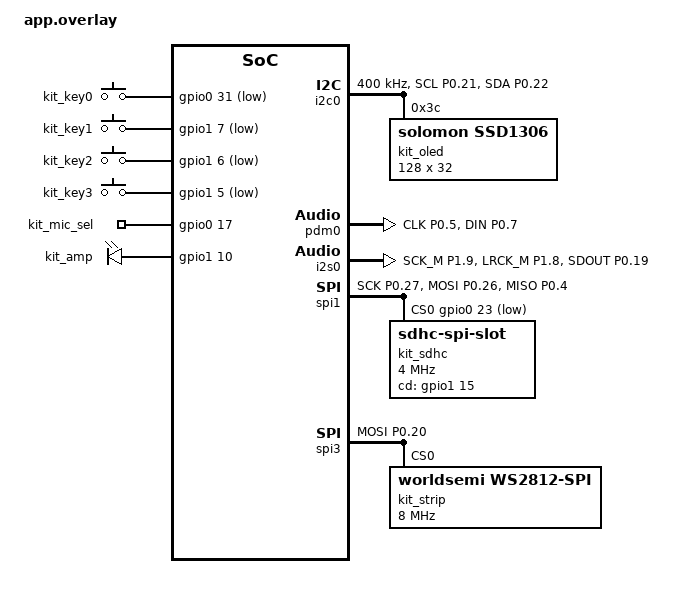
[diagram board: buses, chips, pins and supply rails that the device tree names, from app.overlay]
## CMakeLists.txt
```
# SPDX-License-Identifier: Apache-2.0
cmake_minimum_required(VERSION 3.20.0)
find_package(Zephyr REQUIRED HINTS $ENV{ZEPHYR_BASE})
project(nu40_ble_display)
target_include_directories(app PRIVATE ../shared)
target_sources(app PRIVATE src/main.c src/font_0608.c src/kit_io.c src/kit_mgmt.c)
```

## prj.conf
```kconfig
CONFIG_SERIAL=y
CONFIG_CONSOLE=y
CONFIG_UART_CONSOLE=y
CONFIG_UART_LINE_CTRL=y
CONFIG_USB_DEVICE_STACK_NEXT=y
CONFIG_CDC_ACM_SERIAL_INITIALIZE_AT_BOOT=y
CONFIG_CDC_ACM_SERIAL_PID=0x0004
CONFIG_CDC_ACM_SERIAL_PRODUCT_STRING="NU40DK BLE display v2"
CONFIG_REBOOT=y
CONFIG_GPIO=y
CONFIG_I2C=y
CONFIG_AUDIO=y
CONFIG_AUDIO_DMIC=y
CONFIG_I2S=y
CONFIG_SPI=y
CONFIG_LED_STRIP=y
CONFIG_WS2812_STRIP_SPI=y
CONFIG_DISK_ACCESS=y
CONFIG_SD_DATA_TIMEOUT=1000
CONFIG_SD_DATA_RETRIES=0
CONFIG_FILE_SYSTEM=y
CONFIG_FAT_FILESYSTEM_ELM=y
CONFIG_FS_FATFS_MOUNT_MKFS=n
CONFIG_FS_FATFS_MKFS=n
CONFIG_DISPLAY=y
CONFIG_CHARACTER_FRAMEBUFFER=y
CONFIG_CHARACTER_FRAMEBUFFER_USE_DEFAULT_FONTS=n
CONFIG_BT=y
CONFIG_BT_PERIPHERAL=y
CONFIG_BT_DEVICE_NAME="NU40-KIT-DISPLAY"
CONFIG_BT_MAX_CONN=1
CONFIG_BT_MAX_PAIRED=0
CONFIG_BT_SMP=n
CONFIG_BT_SETTINGS=n
CONFIG_MAIN_STACK_SIZE=4096
CONFIG_SYSTEM_WORKQUEUE_STACK_SIZE=2048
CONFIG_HEAP_MEM_POOL_SIZE=4096
CONFIG_LOG=y
CONFIG_LOG_DEFAULT_LEVEL=2
```

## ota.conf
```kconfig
CONFIG_BOOTLOADER_MCUBOOT=y
CONFIG_FLASH=y
CONFIG_FLASH_MAP=y
CONFIG_STREAM_FLASH=y
CONFIG_IMG_MANAGER=y
CONFIG_MCUMGR=y
CONFIG_NET_BUF=y
CONFIG_ZCBOR=y
CONFIG_CRC=y
CONFIG_MCUBOOT_BOOTLOADER_MODE_SWAP_SCRATCH=y
CONFIG_MCUMGR_GRP_IMG=y
CONFIG_MCUMGR_GRP_OS=y
CONFIG_MCUMGR_TRANSPORT_BT=y
CONFIG_MCUMGR_TRANSPORT_BT_REASSEMBLY=y
CONFIG_MCUMGR_TRANSPORT_NETBUF_SIZE=512
CONFIG_MCUMGR_TRANSPORT_WORKQUEUE_STACK_SIZE=4096
CONFIG_SYSTEM_WORKQUEUE_STACK_SIZE=3072
CONFIG_HEAP_MEM_POOL_SIZE=8192
CONFIG_CDC_ACM_SERIAL_PRODUCT_STRING="NU40DK BLE display OTA v3"
```

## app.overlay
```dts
/* SPDX-License-Identifier: Apache-2.0 */
#include <zephyr/dt-bindings/led/led.h>

/ {
	chosen {
		zephyr,display = &kit_oled;
	};
	kit_keys {
		compatible = "gpio-keys";
		kit_key0: key_0 { gpios = <&gpio0 31 (GPIO_PULL_UP | GPIO_ACTIVE_LOW)>; };
		kit_key1: key_1 { gpios = <&gpio1 7 (GPIO_PULL_UP | GPIO_ACTIVE_LOW)>; };
		kit_key2: key_2 { gpios = <&gpio1 6 (GPIO_PULL_UP | GPIO_ACTIVE_LOW)>; };
		kit_key3: key_3 { gpios = <&gpio1 5 (GPIO_PULL_UP | GPIO_ACTIVE_LOW)>; };
	};
	kit_controls {
		compatible = "gpio-leds";
		kit_mic_sel: mic_sel { gpios = <&gpio0 17 GPIO_ACTIVE_HIGH>; };
		kit_amp: amp { gpios = <&gpio1 10 GPIO_ACTIVE_HIGH>; };
	};
};

/* UART0 RTS/CTS overlap the microphone; SPI1 is remapped below for the SD card. */
&uart0 { status = "disabled"; };
&uart1 { status = "disabled"; };
&i2c1 { status = "disabled"; };

&pinctrl {
	kit_i2c: kit_i2c {
		group1 {
			psels = <NRF_PSEL(TWIM_SCL, 0, 21)>, <NRF_PSEL(TWIM_SDA, 0, 22)>;
		};
	};
	kit_pdm: kit_pdm {
		group1 {
			psels = <NRF_PSEL(PDM_CLK, 0, 5)>, <NRF_PSEL(PDM_DIN, 0, 7)>;
		};
	};
	kit_i2s: kit_i2s {
		group1 {
			psels = <NRF_PSEL(I2S_SCK_M, 1, 9)>,
				<NRF_PSEL(I2S_LRCK_M, 1, 8)>, <NRF_PSEL(I2S_SDOUT, 0, 19)>;
		};
	};
	kit_rgb: kit_rgb {
		group1 { psels = <NRF_PSEL(SPIM_MOSI, 0, 20)>; };
	};
	kit_sd: kit_sd {
		group1 {
			psels = <NRF_PSEL(SPIM_SCK, 0, 27)>,
				<NRF_PSEL(SPIM_MOSI, 0, 26)>, <NRF_PSEL(SPIM_MISO, 0, 4)>;
		};
	};
};

&i2c0 {
	status = "okay";
	clock-frequency = <I2C_BITRATE_FAST>;
	pinctrl-0 = <&kit_i2c>;
	/delete-property/ pinctrl-1;
	pinctrl-names = "default";
	kit_oled: ssd1306@3c {
		compatible = "solomon,ssd1306";
		reg = <0x3c>;
		width = <128>;
		height = <32>;
		segment-offset = <0>;
		page-offset = <0>;
		display-offset = <0>;
		multiplex-ratio = <31>;
		segment-remap;
		com-invdir;
		com-sequential;
		prechargep = <0x22>;
	};
};

&pdm0 {
	status = "okay";
	pinctrl-0 = <&kit_pdm>;
	pinctrl-names = "default";
	clock-source = "PCLK32M_HFXO";
	queue-size = <8>;
};

&i2s0 {
	status = "okay";
	pinctrl-0 = <&kit_i2s>;
	pinctrl-names = "default";
};

&spi1 {
	status = "okay";
	pinctrl-0 = <&kit_sd>;
	/delete-property/ pinctrl-1;
	pinctrl-names = "default";
	cs-gpios = <&gpio0 23 GPIO_ACTIVE_LOW>;
	kit_sdhc: sdhc@0 {
		compatible = "zephyr,sdhc-spi-slot";
		reg = <0>;
		spi-max-frequency = <4000000>;
		/* The designer's KIT example reports HIGH as card present, with no pull. */
		cd-gpios = <&gpio1 15 GPIO_ACTIVE_HIGH>;
		mmc {
			compatible = "zephyr,sdmmc-disk";
			disk-name = "KITSD";
		};
	};
};

&spi3 {
	status = "okay";
	pinctrl-0 = <&kit_rgb>;
	/delete-property/ pinctrl-1;
	/delete-property/ cs-gpios;
	pinctrl-names = "default";
	kit_strip: ws2812@0 {
		compatible = "worldsemi,ws2812-spi";
		reg = <0>;
		spi-max-frequency = <8000000>;
		chain-length = <4>;
		color-mapping = <LED_COLOR_ID_GREEN LED_COLOR_ID_RED LED_COLOR_ID_BLUE>;
		spi-one-frame = <0xfc>;
		spi-zero-frame = <0xc0>;
	};
};
```

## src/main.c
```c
/* SPDX-License-Identifier: Apache-2.0 */
#include <errno.h>
#include <string.h>
#include <hal/nrf_power.h>
#include <zephyr/bluetooth/bluetooth.h>
#include <zephyr/bluetooth/conn.h>
#include <zephyr/bluetooth/gatt.h>
#include <zephyr/bluetooth/uuid.h>
#include <zephyr/device.h>
#include <zephyr/display/cfb.h>
#include <zephyr/drivers/gpio.h>
#include <zephyr/drivers/uart.h>
#include <zephyr/kernel.h>
#include <zephyr/sys/atomic.h>
#include <zephyr/sys/printk.h>
#include <zephyr/sys/reboot.h>

#if defined(CONFIG_BOOTLOADER_MCUBOOT)
#include <zephyr/app_version.h>
#include <zephyr/dfu/mcuboot.h>
#endif

#include "ble_display_protocol.h"
#include "ble_face.h"
#include "kit_io.h"
#include "wallaby_graphics.h"

void kit_mgmt_init(void);

static const struct device *const oled = DEVICE_DT_GET(DT_NODELABEL(kit_oled));
static const struct gpio_dt_spec amp = GPIO_DT_SPEC_GET(DT_NODELABEL(kit_amp), gpios);
static const struct bt_uuid_128 service_uuid = BT_UUID_INIT_128(BLE_DISPLAY_UUID_SERVICE_VAL);
static const struct bt_uuid_128 ack_uuid = BT_UUID_INIT_128(BLE_DISPLAY_UUID_ACK_VAL);
static const struct bt_uuid_128 text_uuid = BT_UUID_INIT_128(BLE_DISPLAY_UUID_TEXT_VAL);
static const struct bt_data advertising[] = {
	BT_DATA_BYTES(BT_DATA_FLAGS, BT_LE_AD_GENERAL | BT_LE_AD_NO_BREDR),
	BT_DATA_BYTES(BT_DATA_UUID128_ALL, BLE_DISPLAY_UUID_SERVICE_VAL),
};
static const struct bt_data scan_response[] = {
	BT_DATA(BT_DATA_NAME_COMPLETE, CONFIG_BT_DEVICE_NAME, sizeof(CONFIG_BT_DEVICE_NAME) - 1),
};

struct received_text {
	uint32_t session;
	uint16_t sequence;
	uint8_t type;
	union {
		char text[BLE_DISPLAY_MAX_TEXT + 1];
		struct ble_face face;
	};
};

K_MSGQ_DEFINE(messages, sizeof(struct received_text), 2, 4);
K_MUTEX_DEFINE(link_lock);
static struct ble_display_rx receiver;
static struct bt_conn *peer;
static uint32_t session;
static atomic_t link_revision;
static bool oled_ready;
static uint32_t received_count, oled_writes, ack_count, error_count;
static struct received_text latest_remote;
static bool have_remote;
static struct wallaby_scene scene;
static bool scene_active;
static uint32_t scene_received_at;

#if defined(CONFIG_BOOTLOADER_MCUBOOT)
static bool image_confirmed;

static void confirm_working_image(void)
{
	/* Accept a trial image only after OLED output and a BLE ACK queue succeed. */
	if (!image_confirmed && k_uptime_get() >= 5000) {
		int ret = boot_write_img_confirmed();

		image_confirmed = ret == 0;
		printk("LINK|OTA version=%s confirm_result=%d confirmed=%u\n",
		       APP_VERSION_STRING, ret, image_confirmed);
	}
}
#endif

static bool ack_subscribed(struct bt_conn *conn);

static ssize_t receive_text(struct bt_conn *conn, const struct bt_gatt_attr *attr,
			    const void *buffer, uint16_t length, uint16_t offset, uint8_t flags)
{
	struct received_text message;
	enum ble_display_result result;
	int queued = 0;

	ARG_UNUSED(attr);
	if (offset != 0) {
		return BT_GATT_ERR(BT_ATT_ERR_INVALID_OFFSET);
	}
	if (flags & BT_GATT_WRITE_FLAG_PREPARE) {
		return BT_GATT_ERR(BT_ATT_ERR_NOT_SUPPORTED);
	}
	if (!ack_subscribed(conn)) {
		return BT_GATT_ERR(BT_ATT_ERR_CCC_IMPROPER_CONF);
	}
	k_mutex_lock(&link_lock, K_FOREVER);
	if (length >= 2 && ((const uint8_t *)buffer)[1] == BLE_DISPLAY_FACE) {
		ble_display_rx_reset(&receiver);
		message.type = BLE_DISPLAY_FACE;
		result = ble_face_parse(buffer, length, &message.sequence, &message.face) ?
			 BLE_DISPLAY_COMPLETE : BLE_DISPLAY_INVALID;
	} else {
		message.type = BLE_DISPLAY_TEXT;
		result = ble_display_receive(&receiver, buffer, length, k_uptime_get_32());
		if (result == BLE_DISPLAY_COMPLETE) {
			message.sequence = receiver.sequence;
			memcpy(message.text, receiver.text, sizeof(message.text));
		}
	}
	if (result == BLE_DISPLAY_COMPLETE) {
		message.session = session;
		queued = k_msgq_put(&messages, &message, K_NO_WAIT);
	}
	k_mutex_unlock(&link_lock);
	if (result < 0 || queued != 0) {
		printk("LINK|RX rejected=%d queue_result=%d\n", result, queued);
		return BT_GATT_ERR(queued != 0 ? BT_ATT_ERR_INSUFFICIENT_RESOURCES :
				   BT_ATT_ERR_VALUE_NOT_ALLOWED);
	}
	return length;
}

static void subscription_changed(const struct bt_gatt_attr *attr, uint16_t value)
{
	ARG_UNUSED(attr);
	printk("LINK|ACK subscribed=%u\n", value == BT_GATT_CCC_NOTIFY);
}

BT_GATT_SERVICE_DEFINE(display_service,
	BT_GATT_PRIMARY_SERVICE(&service_uuid),
	BT_GATT_CHARACTERISTIC(&ack_uuid.uuid, BT_GATT_CHRC_NOTIFY,
			       BT_GATT_PERM_NONE, NULL, NULL, NULL),
	BT_GATT_CCC(subscription_changed, BT_GATT_PERM_READ | BT_GATT_PERM_WRITE),
	BT_GATT_CHARACTERISTIC(&text_uuid.uuid, BT_GATT_CHRC_WRITE,
			       BT_GATT_PERM_WRITE, NULL, receive_text, NULL)
);

static bool ack_subscribed(struct bt_conn *conn)
{
	return bt_gatt_is_subscribed(conn, &display_service.attrs[2], BT_GATT_CCC_NOTIFY);
}

static int draw_text(const char *text)
{
	char lines[BLE_DISPLAY_ROWS][BLE_DISPLAY_COLUMNS + 1];
	int ret;

	if (!ble_display_split_lines(text, strlen(text), lines)) {
		return -E2BIG;
	}
	if (!oled_ready) {
		return -ENODEV;
	}
	ret = cfb_framebuffer_clear(oled, false);
	for (size_t i = 0; i < BLE_DISPLAY_ROWS && ret == 0; i++) {
		ret = cfb_print(oled, lines[i], 0, i * 8);
	}
	if (ret == 0) {
		ret = cfb_framebuffer_finalize(oled);
	}
	if (ret == 0) {
		oled_writes++;
	}
	return ret;
}

static int draw_face(const struct ble_face *face)
{
	uint8_t pixels[BLE_FACE_BUFFER_SIZE];
	int ret;

	if (!oled_ready) {
		return -ENODEV;
	}
	if (!ble_face_render(face, pixels)) {
		return -EINVAL;
	}
	ret = cfb_framebuffer_clear(oled, false);
	for (int y = 0; y < (int)BLE_FACE_HEIGHT && ret == 0; y++) {
		for (int x = 0; x < (int)BLE_FACE_WIDTH && ret == 0; x++) {
			if (pixels[(y / 8) * BLE_FACE_WIDTH + x] & (1U << (y % 8))) {
				struct cfb_position point = {.x = x, .y = y};

				ret = cfb_draw_point(oled, &point);
			}
		}
	}
	if (ret == 0) {
		ret = cfb_framebuffer_finalize(oled);
	}
	if (ret == 0) {
		oled_writes++;
	}
	return ret;
}

static int draw_current(void)
{
	struct kit_status s;
	char text[BLE_DISPLAY_MAX_TEXT + 1];

	kit_snapshot(&s);
	if (scene_active && (s.page == 0 || scene.state == 'A')) {
		uint8_t pixels[WALLABY_PIXELS];
		char labels[4][WALLABY_LABEL_COLUMNS + 1];
		uint32_t now = k_uptime_get_32();
		int ret = oled_ready ? 0 : -ENODEV;

		if (!wallaby_scene_render(&scene,
			(uint32_t)(now - scene_received_at) > WALLABY_SCENE_TIMEOUT_MS,
			now, pixels, labels)) {
			return -E2BIG;
		}
		if (ret == 0) {
			ret = cfb_framebuffer_clear(oled, false);
		}
		for (int y = 0; y < 32 && ret == 0; y++) {
			for (int x = 0; x < 64 && ret == 0; x++) {
				if (pixels[(y / 8) * 128 + x] & (1U << (y % 8))) {
					struct cfb_position point = {.x = x, .y = y};

					ret = cfb_draw_point(oled, &point);
				}
			}
		}
		for (int row = 0; row < 4 && ret == 0; row++) {
			ret = cfb_print(oled, labels[row], 66, row * 8);
		}
		if (ret == 0) {
			ret = cfb_framebuffer_finalize(oled);
		}
		if (ret == 0) {
			oled_writes++;
		}
		return ret;
	}
	if (s.page != 0) {
		kit_local_screen(text);
		return draw_text(text);
	}
	if (have_remote) {
		return latest_remote.type == BLE_DISPLAY_FACE ? draw_face(&latest_remote.face) :
		       draw_text(latest_remote.text);
	}
	struct ble_face face = ble_face_demo(k_uptime_get_32());

	return draw_face(&face);
}

static void connected(struct bt_conn *conn, uint8_t error)
{
	printk("LINK|BLE connected=%u hci_error=%u\n", error == 0, error);
	if (error != 0) {
		return;
	}
	k_mutex_lock(&link_lock, K_FOREVER);
	peer = bt_conn_ref(conn);
	session++;
	ble_display_rx_reset(&receiver);
	k_mutex_unlock(&link_lock);
	atomic_inc(&link_revision);
}

static void restart_advertising(struct k_work *work);
K_WORK_DEFINE(advertising_work, restart_advertising);

static void disconnected(struct bt_conn *conn, uint8_t reason)
{
	printk("LINK|BLE disconnected=1 reason=%u\n", reason);
	k_mutex_lock(&link_lock, K_FOREVER);
	if (peer == conn) {
		bt_conn_unref(peer);
		peer = NULL;
	}
	session++;
	ble_display_rx_reset(&receiver);
	k_mutex_unlock(&link_lock);
	atomic_inc(&link_revision);
}

static void recycled(void)
{
	k_work_submit(&advertising_work);
}

BT_CONN_CB_DEFINE(connection_callbacks) = {
	.connected = connected,
	.disconnected = disconnected,
	.recycled = recycled,
};

static void restart_advertising(struct k_work *work)
{
	int ret;

	ARG_UNUSED(work);
	ret = bt_le_adv_start(BT_LE_ADV_CONN_FAST_1, advertising, ARRAY_SIZE(advertising),
			      scan_response, ARRAY_SIZE(scan_response));
	printk("LINK|BLE advertising_result=%d name=%s\n", ret, CONFIG_BT_DEVICE_NAME);
}

static void process_message(const struct received_text *message)
{
	struct bt_conn *conn = NULL;
	uint8_t ack[BLE_DISPLAY_ACK_SIZE];
	uint8_t status;
	int rendered, notified;

	k_mutex_lock(&link_lock, K_FOREVER);
	if (peer != NULL && message->session == session) {
		conn = bt_conn_ref(peer);
	}
	k_mutex_unlock(&link_lock);
	if (conn == NULL) {
		return;
	}
	struct wallaby_scene next;
	int parsed = message->type == BLE_DISPLAY_TEXT ?
		     wallaby_scene_parse(message->text, &next) : 0;

	if (parsed < 0) {
		rendered = -E2BIG;
	} else {
		if (parsed == 1 && (!scene_active || next.sample != scene.sample)) {
			scene_received_at = k_uptime_get_32();
		}
		if (parsed == 1) {
			scene = next;
		}
		scene_active = parsed == 1;
		latest_remote = *message;
		have_remote = true;
		rendered = draw_current();
	}
	status = rendered == 0 ? BLE_DISPLAY_OK :
		 rendered == -E2BIG ? BLE_DISPLAY_BAD_TEXT : BLE_DISPLAY_OLED_ERROR;
	ble_display_build_ack(message->sequence, status, ack);
	notified = bt_gatt_notify(conn, &display_service.attrs[2], ack, sizeof(ack));
	bt_conn_unref(conn);
	received_count++;
	if (rendered == 0 && notified == 0) {
		ack_count++;
#if defined(CONFIG_BOOTLOADER_MCUBOOT)
		confirm_working_image();
#endif
	} else {
		error_count++;
	}
	/* oled_result confirms the driver transfer; visible text needs observation. */
	printk("LINK|RX seq=%u bytes=%u oled_result=%d ack_result=%d visible=unverified\n",
	       message->sequence, message->type == BLE_DISPLAY_FACE ? BLE_FACE_FRAME_SIZE :
	       (unsigned int)strlen(message->text), rendered, notified);
	if (message->type == BLE_DISPLAY_FACE) {
		printk("LINK|FACE seq=%u expression=%u openness=%u oled_result=%d\n",
		       message->sequence, message->face.expression, message->face.openness, rendered);
	}
}

static void report_status(void)
{
	bool connected_now;

	k_mutex_lock(&link_lock, K_FOREVER);
	connected_now = peer != NULL;
	k_mutex_unlock(&link_lock);
	printk("LINK|STATUS role=display connected=%u oled_ready=%u rx=%u oled_writes=%u "
	       "ack_queued=%u errors=%u\n", connected_now, oled_ready, received_count,
	       oled_writes, ack_count, error_count);
	kit_report();
}

static void enter_bootloader(void)
{
	printk("LINK|CMD uf2 accepted=1\n");
	k_msleep(50);
	nrf_power_gpregret_set(NRF_POWER, 0U, 0x57U);
	sys_reboot(SYS_REBOOT_COLD);
}

static void poll_console(const struct device *console)
{
	static char command[16];
	static size_t used;
	static bool overflow;
	uint32_t baudrate;
	unsigned char c;

	if (uart_line_ctrl_get(console, UART_LINE_CTRL_BAUD_RATE, &baudrate) == 0 &&
	    baudrate == 1200) {
		enter_bootloader();
	}
	for (int i = 0; i < 64 && uart_poll_in(console, &c) == 0; i++) {
		if (c == '\r' || c == '\n') {
			command[used] = '\0';
			if (!overflow && strcmp(command, "uf2") == 0) {
				enter_bootloader();
			} else if (!overflow && strcmp(command, "status") == 0) {
				report_status();
			} else if (!overflow && strcmp(command, "beep") == 0) {
				(void)kit_request(KIT_BEEP, 0);
			} else if (!overflow && strcmp(command, "record") == 0) {
				(void)kit_request(KIT_RECORD, 0);
			} else if (!overflow && strcmp(command, "play") == 0) {
				(void)kit_request(KIT_PLAY, 0);
			} else if (!overflow && strcmp(command, "sd") == 0) {
				(void)kit_request(KIT_SD_RETRY, 0);
			} else if (!overflow && strcmp(command, "mic") == 0) {
				(void)kit_request(KIT_PAGE, 1);
			} else if (!overflow && strcmp(command, "face") == 0) {
				(void)kit_request(KIT_PAGE, 0);
			} else if (!overflow && strcmp(command, "rgb") == 0) {
				(void)kit_request(KIT_RGB, UINT32_MAX);
			} else if (used || overflow) {
				printk("LINK|CMD supported=status,beep,record,play,sd,mic,face,rgb,uf2\n");
			}
			used = 0;
			overflow = false;
		} else if (used < sizeof(command) - 1) {
			command[used++] = c;
		} else {
			overflow = true;
		}
	}
}

int main(void)
{
	const struct device *console = DEVICE_DT_GET(DT_CHOSEN(zephyr_console));
	struct received_text message;
	atomic_val_t seen_revision = -1;
	int64_t report_at = 0, screen_at = 0;
	uint8_t previous_page = UINT8_MAX;
	int ret;

	(void)gpio_pin_configure_dt(&amp, GPIO_OUTPUT_INACTIVE);
	ret = device_is_ready(oled) ? cfb_framebuffer_init(oled) : -ENODEV;
	if (ret == 0) {
		ret = cfb_framebuffer_set_font(oled, 0);
	}
	if (ret == 0) {
		ret = display_blanking_off(oled);
	}
	oled_ready = ret == 0;
	kit_init();
	kit_mgmt_init();
#if defined(CONFIG_BOOTLOADER_MCUBOOT)
	image_confirmed = boot_is_img_confirmed();
	printk("LINK|BOOT role=display firmware=3 oled_init=%d protocol=1 "
	       "features=text,face,ota,kit version=%s\n", ret, APP_VERSION_STRING);
	printk("LINK|OTA version=%s confirmed=%u transport=smp_ble\n",
	       APP_VERSION_STRING, image_confirmed);
#else
	printk("LINK|BOOT role=display firmware=2 oled_init=%d protocol=1 features=text,face,kit\n",
	       ret);
#endif
	(void)draw_text("NU40 BLE DISPLAY\nWaiting for NU87\nNo data received");
	ret = bt_enable(NULL);
	printk("LINK|BLE enable_result=%d\n", ret);
	if (ret == 0) {
		k_work_submit(&advertising_work);
	} else {
		(void)draw_text("BLE INIT ERROR\nCheck USB log");
	}
	while (true) {
		atomic_val_t revision = atomic_get(&link_revision);

		if (revision != seen_revision) {
			bool connected_now;

			k_mutex_lock(&link_lock, K_FOREVER);
			connected_now = peer != NULL;
			k_mutex_unlock(&link_lock);
			kit_set_link(connected_now);
			if (!connected_now) {
				have_remote = false;
				scene_active = false;
			}
			if (ret == 0) {
				(void)draw_text(connected_now ?
					"BLE CONNECTED\nWaiting for NU87 data" :
					"WAITING FOR NU87\nBLE disconnected\nNo current data");
			}
			seen_revision = revision;
		}
		if (k_msgq_get(&messages, &message, K_MSEC(20)) == 0) {
			process_message(&message);
		}
		poll_console(console);
		kit_poll();
		struct kit_status kit;

		kit_snapshot(&kit);
		if (kit.page != previous_page ||
		    (k_uptime_get() >= screen_at && (kit.page != 0 || !have_remote || scene_active))) {
			(void)draw_current();
			previous_page = kit.page;
			screen_at = k_uptime_get() + 120;
		}
		if (k_uptime_get() >= report_at) {
			report_status();
			report_at = k_uptime_get() + 2000;
		}
	}
	return 0;
}
```

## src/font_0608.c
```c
/* SPDX-License-Identifier: BSD-2-Clause */
/* ASCII subset of Adafruit_GFX glcdfont.c with a blank spacing column.
 * Source: https://github.com/adafruit/Adafruit-GFX-Library/blob/master/glcdfont.c
 * Source SHA-256: bd6d60ecb9cc350a83f209d7c62de2fe5f6ce3402d5598cde2988b5b44e83e02
 *
 * Software License Agreement (BSD License)
 * 
 * Copyright (c) 2012 Adafruit Industries.  All rights reserved.
 * 
 * Redistribution and use in source and binary forms, with or without
 * modification, are permitted provided that the following conditions are met:
 * 
 * - Redistributions of source code must retain the above copyright notice,
 *   this list of conditions and the following disclaimer.
 * - Redistributions in binary form must reproduce the above copyright notice,
 *   this list of conditions and the following disclaimer in the documentation
 *   and/or other materials provided with the distribution.
 * 
 * THIS SOFTWARE IS PROVIDED BY THE COPYRIGHT HOLDERS AND CONTRIBUTORS "AS IS"
 * AND ANY EXPRESS OR IMPLIED WARRANTIES, INCLUDING, BUT NOT LIMITED TO, THE
 * IMPLIED WARRANTIES OF MERCHANTABILITY AND FITNESS FOR A PARTICULAR PURPOSE
 * ARE DISCLAIMED. IN NO EVENT SHALL THE COPYRIGHT HOLDER OR CONTRIBUTORS BE
 * LIABLE FOR ANY DIRECT, INDIRECT, INCIDENTAL, SPECIAL, EXEMPLARY, OR
 * CONSEQUENTIAL DAMAGES (INCLUDING, BUT NOT LIMITED TO, PROCUREMENT OF
 * SUBSTITUTE GOODS OR SERVICES; LOSS OF USE, DATA, OR PROFITS; OR BUSINESS
 * INTERRUPTION) HOWEVER CAUSED AND ON ANY THEORY OF LIABILITY, WHETHER IN
 * CONTRACT, STRICT LIABILITY, OR TORT (INCLUDING NEGLIGENCE OR OTHERWISE)
 * ARISING IN ANY WAY OUT OF THE USE OF THIS SOFTWARE, EVEN IF ADVISED OF THE
 * POSSIBILITY OF SUCH DAMAGE.
 */
#include <zephyr/kernel.h>
#include <zephyr/display/cfb.h>

static const uint8_t font_0608[95][6] = {
	{0x00, 0x00, 0x00, 0x00, 0x00, 0x00},
	{0x00, 0x00, 0x5f, 0x00, 0x00, 0x00},
	{0x00, 0x07, 0x00, 0x07, 0x00, 0x00},
	{0x14, 0x7f, 0x14, 0x7f, 0x14, 0x00},
	{0x24, 0x2a, 0x7f, 0x2a, 0x12, 0x00},
	{0x23, 0x13, 0x08, 0x64, 0x62, 0x00},
	{0x36, 0x49, 0x56, 0x20, 0x50, 0x00},
	{0x00, 0x08, 0x07, 0x03, 0x00, 0x00},
	{0x00, 0x1c, 0x22, 0x41, 0x00, 0x00},
	{0x00, 0x41, 0x22, 0x1c, 0x00, 0x00},
	{0x2a, 0x1c, 0x7f, 0x1c, 0x2a, 0x00},
	{0x08, 0x08, 0x3e, 0x08, 0x08, 0x00},
	{0x00, 0x80, 0x70, 0x30, 0x00, 0x00},
	{0x08, 0x08, 0x08, 0x08, 0x08, 0x00},
	{0x00, 0x00, 0x60, 0x60, 0x00, 0x00},
	{0x20, 0x10, 0x08, 0x04, 0x02, 0x00},
	{0x3e, 0x51, 0x49, 0x45, 0x3e, 0x00},
	{0x00, 0x42, 0x7f, 0x40, 0x00, 0x00},
	{0x72, 0x49, 0x49, 0x49, 0x46, 0x00},
	{0x21, 0x41, 0x49, 0x4d, 0x33, 0x00},
	{0x18, 0x14, 0x12, 0x7f, 0x10, 0x00},
	{0x27, 0x45, 0x45, 0x45, 0x39, 0x00},
	{0x3c, 0x4a, 0x49, 0x49, 0x31, 0x00},
	{0x41, 0x21, 0x11, 0x09, 0x07, 0x00},
	{0x36, 0x49, 0x49, 0x49, 0x36, 0x00},
	{0x46, 0x49, 0x49, 0x29, 0x1e, 0x00},
	{0x00, 0x00, 0x14, 0x00, 0x00, 0x00},
	{0x00, 0x40, 0x34, 0x00, 0x00, 0x00},
	{0x00, 0x08, 0x14, 0x22, 0x41, 0x00},
	{0x14, 0x14, 0x14, 0x14, 0x14, 0x00},
	{0x00, 0x41, 0x22, 0x14, 0x08, 0x00},
	{0x02, 0x01, 0x59, 0x09, 0x06, 0x00},
	{0x3e, 0x41, 0x5d, 0x59, 0x4e, 0x00},
	{0x7c, 0x12, 0x11, 0x12, 0x7c, 0x00},
	{0x7f, 0x49, 0x49, 0x49, 0x36, 0x00},
	{0x3e, 0x41, 0x41, 0x41, 0x22, 0x00},
	{0x7f, 0x41, 0x41, 0x41, 0x3e, 0x00},
	{0x7f, 0x49, 0x49, 0x49, 0x41, 0x00},
	{0x7f, 0x09, 0x09, 0x09, 0x01, 0x00},
	{0x3e, 0x41, 0x41, 0x51, 0x73, 0x00},
	{0x7f, 0x08, 0x08, 0x08, 0x7f, 0x00},
	{0x00, 0x41, 0x7f, 0x41, 0x00, 0x00},
	{0x20, 0x40, 0x41, 0x3f, 0x01, 0x00},
	{0x7f, 0x08, 0x14, 0x22, 0x41, 0x00},
	{0x7f, 0x40, 0x40, 0x40, 0x40, 0x00},
	{0x7f, 0x02, 0x1c, 0x02, 0x7f, 0x00},
	{0x7f, 0x04, 0x08, 0x10, 0x7f, 0x00},
	{0x3e, 0x41, 0x41, 0x41, 0x3e, 0x00},
	{0x7f, 0x09, 0x09, 0x09, 0x06, 0x00},
	{0x3e, 0x41, 0x51, 0x21, 0x5e, 0x00},
	{0x7f, 0x09, 0x19, 0x29, 0x46, 0x00},
	{0x26, 0x49, 0x49, 0x49, 0x32, 0x00},
	{0x03, 0x01, 0x7f, 0x01, 0x03, 0x00},
	{0x3f, 0x40, 0x40, 0x40, 0x3f, 0x00},
	{0x1f, 0x20, 0x40, 0x20, 0x1f, 0x00},
	{0x3f, 0x40, 0x38, 0x40, 0x3f, 0x00},
	{0x63, 0x14, 0x08, 0x14, 0x63, 0x00},
	{0x03, 0x04, 0x78, 0x04, 0x03, 0x00},
	{0x61, 0x59, 0x49, 0x4d, 0x43, 0x00},
	{0x00, 0x7f, 0x41, 0x41, 0x41, 0x00},
	{0x02, 0x04, 0x08, 0x10, 0x20, 0x00},
	{0x00, 0x41, 0x41, 0x41, 0x7f, 0x00},
	{0x04, 0x02, 0x01, 0x02, 0x04, 0x00},
	{0x40, 0x40, 0x40, 0x40, 0x40, 0x00},
	{0x00, 0x03, 0x07, 0x08, 0x00, 0x00},
	{0x20, 0x54, 0x54, 0x78, 0x40, 0x00},
	{0x7f, 0x28, 0x44, 0x44, 0x38, 0x00},
	{0x38, 0x44, 0x44, 0x44, 0x28, 0x00},
	{0x38, 0x44, 0x44, 0x28, 0x7f, 0x00},
	{0x38, 0x54, 0x54, 0x54, 0x18, 0x00},
	{0x00, 0x08, 0x7e, 0x09, 0x02, 0x00},
	{0x18, 0xa4, 0xa4, 0x9c, 0x78, 0x00},
	{0x7f, 0x08, 0x04, 0x04, 0x78, 0x00},
	{0x00, 0x44, 0x7d, 0x40, 0x00, 0x00},
	{0x20, 0x40, 0x40, 0x3d, 0x00, 0x00},
	{0x7f, 0x10, 0x28, 0x44, 0x00, 0x00},
	{0x00, 0x41, 0x7f, 0x40, 0x00, 0x00},
	{0x7c, 0x04, 0x78, 0x04, 0x78, 0x00},
	{0x7c, 0x08, 0x04, 0x04, 0x78, 0x00},
	{0x38, 0x44, 0x44, 0x44, 0x38, 0x00},
	{0xfc, 0x18, 0x24, 0x24, 0x18, 0x00},
	{0x18, 0x24, 0x24, 0x18, 0xfc, 0x00},
	{0x7c, 0x08, 0x04, 0x04, 0x08, 0x00},
	{0x48, 0x54, 0x54, 0x54, 0x24, 0x00},
	{0x04, 0x04, 0x3f, 0x44, 0x24, 0x00},
	{0x3c, 0x40, 0x40, 0x20, 0x7c, 0x00},
	{0x1c, 0x20, 0x40, 0x20, 0x1c, 0x00},
	{0x3c, 0x40, 0x30, 0x40, 0x3c, 0x00},
	{0x44, 0x28, 0x10, 0x28, 0x44, 0x00},
	{0x4c, 0x90, 0x90, 0x90, 0x7c, 0x00},
	{0x44, 0x64, 0x54, 0x4c, 0x44, 0x00},
	{0x00, 0x08, 0x36, 0x41, 0x00, 0x00},
	{0x00, 0x00, 0x77, 0x00, 0x00, 0x00},
	{0x00, 0x41, 0x36, 0x08, 0x00, 0x00},
	{0x02, 0x01, 0x02, 0x04, 0x02, 0x00},
};

FONT_ENTRY_DEFINE(font0608, 6, 8, CFB_FONT_MONO_VPACKED, font_0608, 32, 126);
```

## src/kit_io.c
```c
/* SPDX-License-Identifier: Apache-2.0 */
#include <errno.h>
#include <stdio.h>
#include <string.h>
#include <ff.h>
#include <zephyr/audio/dmic.h>
#include <zephyr/device.h>
#include <zephyr/drivers/gpio.h>
#include <zephyr/drivers/i2s.h>
#include <zephyr/drivers/led_strip.h>
#include <zephyr/drivers/sdhc.h>
#include <zephyr/fs/fs.h>
#include <zephyr/kernel.h>
#include <zephyr/sys/printk.h>

#include "kit_io.h"
#include "kit_logic.h"

#define MIC_SAMPLES 320U
#define MIC_BYTES (MIC_SAMPLES * sizeof(int16_t))
#define TX_FRAMES 160U
#define TX_BYTES (TX_FRAMES * 2U * sizeof(int16_t))
#define TX_SLAB_BLOCKS 6
#define SD_ROOT "/KITSD:/NU40KIT"

K_MEM_SLAB_DEFINE_STATIC(mic_slab, MIC_BYTES, 8, 4);
K_MEM_SLAB_DEFINE_STATIC(tx_slab, TX_BYTES, TX_SLAB_BLOCKS, 4);
K_MUTEX_DEFINE(state_lock);
K_SEM_DEFINE(record_done, 0, 1);
K_MSGQ_DEFINE(actions, sizeof(enum kit_action), 1, 4);

static const struct device *const mic = DEVICE_DT_GET(DT_NODELABEL(pdm0));
static const struct device *const speaker = DEVICE_DT_GET(DT_NODELABEL(i2s0));
static const struct device *const strip = DEVICE_DT_GET(DT_NODELABEL(kit_strip));
static const struct device *const sd = DEVICE_DT_GET(DT_NODELABEL(kit_sdhc));
static const struct gpio_dt_spec keys[] = {
	GPIO_DT_SPEC_GET(DT_NODELABEL(kit_key0), gpios),
	GPIO_DT_SPEC_GET(DT_NODELABEL(kit_key1), gpios),
	GPIO_DT_SPEC_GET(DT_NODELABEL(kit_key2), gpios),
	GPIO_DT_SPEC_GET(DT_NODELABEL(kit_key3), gpios),
};
static const struct gpio_dt_spec mic_sel = GPIO_DT_SPEC_GET(DT_NODELABEL(kit_mic_sel), gpios);
static const struct gpio_dt_spec amp = GPIO_DT_SPEC_GET(DT_NODELABEL(kit_amp), gpios);
static struct kit_status state;
static struct kit_buttons buttons;
static int16_t recording_pcm[KIT_RECORD_SAMPLES] __aligned(4);
static bool recording, link_connected;
static uint32_t next_file;
static FATFS fat_fs;
static struct fs_mount_t mount = {
	.type = FS_FATFS,
	.fs_data = &fat_fs,
	.mnt_point = "/KITSD:",
	.flags = FS_MOUNT_FLAG_NO_FORMAT,
};

void kit_snapshot(struct kit_status *out)
{
	k_mutex_lock(&state_lock, K_FOREVER);
	*out = state;
	k_mutex_unlock(&state_lock);
}

void kit_set_link(bool connected)
{
	k_mutex_lock(&state_lock, K_FOREVER);
	link_connected = connected;
	k_mutex_unlock(&state_lock);
}

static int mount_card(void)
{
	struct fs_dirent info;
	struct kit_status s;
	int ret;

	kit_snapshot(&s);
	if (s.sd_mounted) {
		return 0;
	}
	ret = device_is_ready(sd) ? sdhc_card_present(sd) : -ENODEV;
	if (ret <= 0) {
		return ret < 0 ? ret : -ENOMEDIUM;
	}
	ret = fs_mount(&mount);
	if (ret != 0) {
		return ret;
	}
	ret = fs_stat(SD_ROOT, &info);
	if (ret == -ENOENT) {
		ret = fs_mkdir(SD_ROOT);
	} else if (ret == 0 && info.type != FS_DIR_ENTRY_DIR) {
		ret = -ENOTDIR;
	}
	if (ret != 0) {
		(void)fs_unmount(&mount);
		return ret;
	}
	k_mutex_lock(&state_lock, K_FOREVER);
	state.sd_mounted = true;
	k_mutex_unlock(&state_lock);
	return 0;
}

/* No format, truncation, deletion or replacement of an existing card file. */
static int unused_record_path(char path[40])
{
	struct fs_dirent info;

	while (next_file < 100000) {
		snprintk(path, 40, SD_ROOT "/R%05u.WAV", next_file++);
		int ret = fs_stat(path, &info);

		if (ret == -ENOENT) {
			return 0;
		}
		if (ret != 0) {
			return ret;
		}
	}
	return -ENOSPC;
}

static int verify_record(const char *path, uint32_t samples)
{
	struct fs_file_t file;
	uint8_t data[MIC_BYTES], header[KIT_WAV_HEADER_BYTES];
	int ret, closed;
	size_t offset = 0, bytes = samples * sizeof(int16_t);

	fs_file_t_init(&file);
	ret = fs_open(&file, path, FS_O_READ);
	if (ret != 0) {
		return ret;
	}
	ssize_t read = fs_read(&file, header, sizeof(header));

	ret = read < 0 ? read :
	      kit_wav_valid(header, (size_t)read, samples) ? 0 : -EBADMSG;
	while (ret == 0 && offset < bytes) {
		size_t count = MIN(sizeof(data), bytes - offset);

		read = fs_read(&file, data, count);
		if (read != count) {
			ret = read < 0 ? read : -EIO;
		} else if (memcmp(data, (uint8_t *)recording_pcm + offset, count)) {
			ret = -EBADMSG;
		}
		offset += count;
	}
	if (ret == 0) {
		read = fs_read(&file, data, 1);
		ret = read < 0 ? read : read == 0 ? 0 : -EBADMSG;
	}
	closed = fs_close(&file);
	return ret != 0 ? ret : closed;
}

static int save_record(uint32_t samples)
{
	struct fs_file_t file;
	uint8_t header[KIT_WAV_HEADER_BYTES];
	char path[40];
	int ret = mount_card(), closed;

	if (ret == 0) {
		ret = unused_record_path(path);
	}
	if (ret != 0) {
		return ret;
	}
	if (!kit_wav_header(header, samples)) {
		return -EINVAL;
	}
	fs_file_t_init(&file);
	ret = fs_open(&file, path, FS_O_CREATE | FS_O_WRITE);
	if (ret != 0) {
		return ret;
	}
	ssize_t written = fs_write(&file, header, sizeof(header));

	ret = written < 0 ? written : written == sizeof(header) ? 0 : -ENOSPC;
	if (ret == 0) {
		written = fs_write(&file, recording_pcm, samples * sizeof(int16_t));
		ret = written < 0 ? written : written == samples * sizeof(int16_t) ? 0 : -ENOSPC;
	}
	if (ret == 0) {
		ret = fs_sync(&file);
	}
	closed = fs_close(&file);
	ret = ret != 0 ? ret : closed;
	if (ret == 0) {
		ret = verify_record(path, samples);
	}
	if (ret == 0) {
		k_mutex_lock(&state_lock, K_FOREVER);
		state.sd_saves++;
		state.sd_reads++;
		memcpy(state.last_file, path, sizeof(path));
		k_mutex_unlock(&state_lock);
	}
	printk("KIT|SD file=%s save_readback_result=%d samples=%u\n", path, ret, samples);
	return ret;
}

static void microphone_thread(void *a, void *b, void *c)
{
	ARG_UNUSED(a);
	ARG_UNUSED(b);
	ARG_UNUSED(c);
	while (true) {
		void *buffer;
		size_t bytes;
		int ret = dmic_read(mic, 0, &buffer, &bytes, 200);

		if (ret == 0) {
			const int16_t *pcm = buffer;
			uint32_t peak = 0;
			uint64_t squares = 0;
			size_t samples = bytes / sizeof(int16_t);

			for (size_t i = 0; i < samples; i++) {
				int32_t value = pcm[i];
				uint32_t magnitude = value < 0 ? -value : value;

				peak = MAX(peak, magnitude);
				squares += (int64_t)value * value;
			}
			k_mutex_lock(&state_lock, K_FOREVER);
			state.peak = peak;
			state.rms = samples ? kit_isqrt(squares / samples) : 0;
			state.mic_blocks++;
			state.mic_result = 0;
			if (recording) {
				size_t count = MIN(samples, KIT_RECORD_SAMPLES - state.recorded_samples);

				memcpy(recording_pcm + state.recorded_samples, pcm,
				       count * sizeof(int16_t));
				state.recorded_samples += count;
				if (state.recorded_samples == KIT_RECORD_SAMPLES) {
					recording = false;
					k_sem_give(&record_done);
				}
			}
			k_mutex_unlock(&state_lock);
			k_mem_slab_free(&mic_slab, buffer);
			continue;
		}
		k_mutex_lock(&state_lock, K_FOREVER);
		state.mic_errors++;
		state.mic_result = ret;
		k_mutex_unlock(&state_lock);
		printk("KIT|MIC read_error=%d retry=1\n", ret);
		(void)dmic_trigger(mic, DMIC_TRIGGER_STOP);
		k_msleep(50);
		while (dmic_read(mic, 0, &buffer, &bytes, 0) == 0) {
			k_mem_slab_free(&mic_slab, buffer);
		}
		(void)dmic_trigger(mic, DMIC_TRIGGER_START);
		k_msleep(50);
	}
}
K_THREAD_DEFINE(mic_thread_id, 2048, microphone_thread, NULL, NULL, NULL, 5, 0, SYS_FOREVER_MS);

static int output_audio(bool tone, uint32_t samples)
{
	static const int16_t sine[16] = {
		0, 1567, 2896, 3784, 4096, 3784, 2896, 1567,
		0, -1567, -2896, -3784, -4096, -3784, -2896, -1567,
	};
	int16_t frame[TX_FRAMES * 2];
	struct kit_status s;
	uint32_t blocks = DIV_ROUND_UP(samples, TX_FRAMES);
	int ret;

	kit_snapshot(&s);
	if (s.speaker_result != 0) {
		return s.speaker_result;
	}
	ret = gpio_pin_set_dt(&amp, 1);
	for (uint32_t block = 0; ret == 0 && block < blocks; block++) {
		for (uint32_t i = 0; i < TX_FRAMES; i++) {
			uint32_t index = block * TX_FRAMES + i;
			/* Cap playback gain at 1x; no boost of an unknown recording. */
			int16_t value = index >= samples ? 0 :
					tone ? sine[index % ARRAY_SIZE(sine)] : recording_pcm[index];

			frame[i * 2] = frame[i * 2 + 1] = value;
		}
		ret = i2s_buf_write(speaker, frame, sizeof(frame));
		if (ret == 0 && block == 1) {
			ret = i2s_trigger(speaker, I2S_DIR_TX, I2S_TRIGGER_START);
		}
	}
	if (ret == 0) {
		ret = i2s_trigger(speaker, I2S_DIR_TX, I2S_TRIGGER_DRAIN);
	}
	if (ret == 0) {
		int64_t deadline = k_uptime_get() + 500;

		while (k_mem_slab_num_free_get(&tx_slab) != TX_SLAB_BLOCKS &&
		       k_uptime_get() < deadline) {
			k_msleep(2);
		}
		ret = k_mem_slab_num_free_get(&tx_slab) == TX_SLAB_BLOCKS ? 0 : -ETIMEDOUT;
	}
	(void)gpio_pin_set_dt(&amp, 0);
	if (ret != 0) {
		(void)i2s_trigger(speaker, I2S_DIR_TX, I2S_TRIGGER_DROP);
		k_msleep(2);
	}
	return ret;
}

static int capture_record(void)
{
	struct kit_status s;
	int ret;

	kit_snapshot(&s);
	if (s.mic_result != 0) {
		return s.mic_result;
	}
	k_sem_reset(&record_done);
	k_mutex_lock(&state_lock, K_FOREVER);
	state.recorded_samples = 0;
	state.last_file[0] = '\0';
	recording = true;
	k_mutex_unlock(&state_lock);
	ret = k_sem_take(&record_done, K_SECONDS(4));
	k_mutex_lock(&state_lock, K_FOREVER);
	recording = false;
	if (ret == 0) {
		state.records++;
	} else {
		state.recorded_samples = 0;
	}
	k_mutex_unlock(&state_lock);
	if (ret == 0) {
		int saved = save_record(KIT_RECORD_SAMPLES);

		k_mutex_lock(&state_lock, K_FOREVER);
		state.sd_result = saved;
		k_mutex_unlock(&state_lock);
	}
	/* A card failure does not discard a successful RAM recording. */
	return ret;
}

static void audio_thread(void *a, void *b, void *c)
{
	enum kit_action action;

	ARG_UNUSED(a);
	ARG_UNUSED(b);
	ARG_UNUSED(c);
	while (true) {
		struct kit_status s;
		int ret = -EINVAL;

		(void)k_msgq_get(&actions, &action, K_FOREVER);
		kit_snapshot(&s);
		if (action == KIT_SD_RETRY) {
			ret = mount_card();
			k_mutex_lock(&state_lock, K_FOREVER);
			state.sd_result = ret;
			k_mutex_unlock(&state_lock);
		} else if (action == KIT_RECORD) {
			ret = capture_record();
		} else if (action == KIT_BEEP) {
			ret = output_audio(true, KIT_SAMPLE_RATE * 3 / 10);
		} else if (action == KIT_PLAY) {
			if (s.recorded_samples == 0) {
				ret = -ENODATA;
			} else {
				ret = s.last_file[0] ? verify_record(s.last_file, s.recorded_samples) : 0;
				if (s.last_file[0]) {
					k_mutex_lock(&state_lock, K_FOREVER);
					state.sd_result = ret;
					state.sd_reads += ret == 0;
					k_mutex_unlock(&state_lock);
				}
				if (ret == 0) {
					ret = output_audio(false, s.recorded_samples);
				}
			}
		}
		k_mutex_lock(&state_lock, K_FOREVER);
		state.audio_result = ret;
		state.beeps += action == KIT_BEEP && ret == 0;
		state.plays += action == KIT_PLAY && ret == 0;
		state.busy = 0;
		k_mutex_unlock(&state_lock);
		printk("KIT|ACTION action=%u result=%d\n", action, ret);
	}
}
K_THREAD_DEFINE(audio_thread_id, 4096, audio_thread, NULL, NULL, NULL, 7, 0, SYS_FOREVER_MS);

int kit_request(enum kit_action action, uint32_t value)
{
	int ret = 0;

	if (action < KIT_BEEP || action > KIT_RGB ||
	    (action < KIT_PAGE && value != 0) ||
	    (action >= KIT_PAGE && value > 2 && value != UINT32_MAX)) {
		return -EINVAL;
	}
	k_mutex_lock(&state_lock, K_FOREVER);
	if (action == KIT_PAGE) {
		state.page = value == UINT32_MAX ? (state.page + 1) % 3 : value;
	} else if (action == KIT_RGB) {
		state.rgb_mode = value == UINT32_MAX ? (state.rgb_mode + 1) % 3 : value;
	} else if (state.busy != 0) {
		ret = -EBUSY;
	} else {
		state.busy = action;
		ret = k_msgq_put(&actions, &action, K_NO_WAIT);
		if (ret != 0) {
			state.busy = 0;
		}
	}
	k_mutex_unlock(&state_lock);
	return ret;
}

void kit_poll(void)
{
	static uint32_t rgb_at;
	uint32_t now = k_uptime_get_32();
	uint8_t raw = 0;
	struct kit_status s;

	kit_snapshot(&s);
	for (size_t i = 0; i < ARRAY_SIZE(keys); i++) {
		if ((s.keys_ready & BIT(i)) && gpio_pin_get_dt(&keys[i]) > 0) {
			raw |= BIT(i);
		}
	}
	struct kit_button_events e = kit_buttons_update(&buttons, raw, now);

	if (e.rising) {
		printk("KIT|BUTTON pressed=0x%x rising=0x%x\n", buttons.pressed, e.rising);
	}
	k_mutex_lock(&state_lock, K_FOREVER);
	state.pressed = buttons.pressed;
	state.seen |= e.rising;
	k_mutex_unlock(&state_lock);
	if (e.rising & BIT(0)) {
		(void)kit_request(KIT_PAGE, UINT32_MAX);
	}
	if (e.rising & BIT(1)) {
		(void)kit_request(KIT_RECORD, 0);
	}
	if (e.rising & BIT(2)) {
		(void)kit_request(KIT_BEEP, 0);
	}
	if (e.short_release & BIT(3)) {
		(void)kit_request(KIT_PLAY, 0);
	}
	if (e.long_hold & BIT(3)) {
		(void)kit_request(KIT_RGB, UINT32_MAX);
	}
	if ((uint32_t)(now - rgb_at) >= 100 && s.rgb_result == 0) {
		struct led_rgb pixels[4] = {0};
		bool connected;

		rgb_at = now;
		k_mutex_lock(&state_lock, K_FOREVER);
		connected = link_connected;
		k_mutex_unlock(&state_lock);
		for (size_t i = 0; i < ARRAY_SIZE(pixels); i++) {
			if (s.rgb_mode == 2) {
				continue;
			}
			pixels[i].b = connected ? 0 : 2;
			pixels[i].g = s.rgb_mode == 1 ? MIN(8, s.rms / 128) : connected ? 3 : 0;
			pixels[i].r = s.busy == KIT_RECORD ? 8 : 0;
			if (buttons.pressed & BIT(i)) {
				pixels[i].r = pixels[i].g = pixels[i].b = 8;
			}
		}
		int ret = led_strip_update_rgb(strip, pixels, ARRAY_SIZE(pixels));

		if (ret != 0) {
			k_mutex_lock(&state_lock, K_FOREVER);
			state.rgb_result = ret;
			k_mutex_unlock(&state_lock);
			printk("KIT|RGB write_error=%d\n", ret);
		}
	}
}

void kit_local_screen(char out[85])
{
	struct kit_status s;

	kit_snapshot(&s);
	if (s.page == 1) {
		snprintk(out, 85, "MIC 16kHz MONO\nRMS:%u Peak:%u\nREC:%u/32000\n2:REC 3:BEEP 4:PLAY",
			 s.rms, s.peak, s.recorded_samples);
	} else {
		snprintk(out, 85, "NU40 KIT keys:%x\nSD:%s err:%d\nREC:%u PLAY:%u\nRGB:%u Busy:%u",
			 s.seen, s.sd_mounted ? "FAT" : "NONE", s.sd_result,
			 s.records % 10000, s.plays % 10000, s.rgb_mode, s.busy);
	}
}

void kit_report(void)
{
	struct kit_status s;

	kit_snapshot(&s);
	printk("KIT|STATUS keys_ready=0x%x pressed=0x%x seen=0x%x page=%u rgb_mode=%u "
	       "rgb_result=%d mic_result=%d mic_blocks=%u mic_errors=%u peak=%u rms=%u "
	       "speaker_result=%d beeps=%u records=%u plays=%u samples=%u busy=%u "
	       "audio_result=%d sd_mounted=%u sd_result=%d sd_saves=%u sd_reads=%u\n",
	       s.keys_ready, s.pressed, s.seen, s.page, s.rgb_mode, s.rgb_result, s.mic_result,
	       s.mic_blocks, s.mic_errors, s.peak, s.rms, s.speaker_result, s.beeps, s.records,
	       s.plays, s.recorded_samples, s.busy, s.audio_result, s.sd_mounted,
	       s.sd_result, s.sd_saves, s.sd_reads);
}

void kit_init(void)
{
	struct pcm_stream_cfg stream = {
		.pcm_rate = KIT_SAMPLE_RATE, .pcm_width = 16,
		.block_size = MIC_BYTES, .mem_slab = &mic_slab,
	};
	struct dmic_cfg cfg = {
		.io = {.min_pdm_clk_freq = 1000000, .max_pdm_clk_freq = 3500000,
		       .min_pdm_clk_dc = 40, .max_pdm_clk_dc = 60},
		.streams = &stream,
		.channel = {.req_num_streams = 1, .req_num_chan = 1,
			    .req_chan_map_lo = dmic_build_channel_map(0, 0, PDM_CHAN_LEFT)},
	};
	struct i2s_config tx = {
		.word_size = 16, .channels = 2, .format = I2S_FMT_DATA_FORMAT_I2S,
		.options = I2S_OPT_FRAME_CLK_CONTROLLER | I2S_OPT_BIT_CLK_CONTROLLER,
		.frame_clk_freq = KIT_SAMPLE_RATE, .mem_slab = &tx_slab,
		.block_size = TX_BYTES, .timeout = 100,
	};
	int ret;

	for (size_t i = 0; i < ARRAY_SIZE(keys); i++) {
		ret = gpio_is_ready_dt(&keys[i]) ? gpio_pin_configure_dt(&keys[i], GPIO_INPUT) :
		      -ENODEV;
		state.keys_ready |= ret == 0 ? BIT(i) : 0;
	}
	ret = gpio_is_ready_dt(&mic_sel) ?
	      gpio_pin_configure_dt(&mic_sel, GPIO_OUTPUT_INACTIVE) : -ENODEV;
	if (ret == 0) {
		ret = device_is_ready(mic) ? dmic_configure(mic, &cfg) : -ENODEV;
	}
	if (ret == 0) {
		ret = dmic_trigger(mic, DMIC_TRIGGER_START);
	}
	state.mic_result = ret;
	if (ret == 0) {
		k_thread_start(mic_thread_id);
	}
	ret = gpio_is_ready_dt(&amp) ? gpio_pin_configure_dt(&amp, GPIO_OUTPUT_INACTIVE) :
	      -ENODEV;
	if (ret == 0) {
		ret = device_is_ready(speaker) ? i2s_configure(speaker, I2S_DIR_TX, &tx) : -ENODEV;
	}
	state.speaker_result = ret;
	state.rgb_result = device_is_ready(strip) ? 0 : -ENODEV;
	state.sd_result = -EINPROGRESS;
	k_thread_start(audio_thread_id);
	(void)kit_request(KIT_SD_RETRY, 0);
	kit_report();
}
```

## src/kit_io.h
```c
/* SPDX-License-Identifier: Apache-2.0 */
#ifndef NU40_KIT_IO_H_
#define NU40_KIT_IO_H_

#include <stdbool.h>
#include <stdint.h>

enum kit_action {
	KIT_BEEP = 1,
	KIT_RECORD,
	KIT_PLAY,
	KIT_SD_RETRY,
	KIT_PAGE,
	KIT_RGB,
};

struct kit_status {
	uint32_t mic_blocks, mic_errors, peak, rms;
	uint32_t recorded_samples, records, beeps, plays, sd_saves, sd_reads;
	int32_t mic_result, speaker_result, sd_result, audio_result, rgb_result;
	uint8_t keys_ready, pressed, seen, page, rgb_mode, busy;
	bool sd_mounted;
	char last_file[40];
};

void kit_init(void);
void kit_poll(void);
void kit_snapshot(struct kit_status *out);
int kit_request(enum kit_action action, uint32_t value);
void kit_set_link(bool connected);
void kit_local_screen(char out[85]);
void kit_report(void);

#endif
```

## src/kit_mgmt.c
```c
/* SPDX-License-Identifier: Apache-2.0 */
#include <errno.h>
#include "kit_io.h"

#if defined(CONFIG_MCUMGR)
#include <zephyr/mgmt/mcumgr/mgmt/mgmt.h>
#include <zephyr/app_version.h>
#include <zephyr/sys/util.h>
#include <mgmt/mcumgr/util/zcbor_bulk.h>
#include <zcbor_decode.h>
#include <zcbor_encode.h>

#define KIT_MGMT_GROUP 64

static int read_status(struct smp_streamer *ctxt)
{
	zcbor_state_t *zse = ctxt->writer->zs;
	struct kit_status s;

	kit_snapshot(&s);
#define PUT_U(name, value) (zcbor_tstr_put_lit(zse, name) && zcbor_uint32_put(zse, value))
#define PUT_I(name, value) (zcbor_tstr_put_lit(zse, name) && zcbor_int32_put(zse, value))
	bool ok = PUT_U("schema", 1) && PUT_U("keys", s.keys_ready) &&
		  PUT_U("pressed", s.pressed) && PUT_U("seen", s.seen) &&
		  PUT_U("page", s.page) && PUT_U("rgb_mode", s.rgb_mode) &&
		  PUT_U("busy", s.busy) && PUT_U("mic_blocks", s.mic_blocks) &&
		  PUT_U("mic_errors", s.mic_errors) && PUT_U("peak", s.peak) &&
		  PUT_U("rms", s.rms) && PUT_U("samples", s.recorded_samples) &&
		  PUT_U("records", s.records) && PUT_U("beeps", s.beeps) &&
		  PUT_U("plays", s.plays) && PUT_U("sd_saves", s.sd_saves) &&
		  PUT_U("sd_reads", s.sd_reads) && PUT_I("mic_result", s.mic_result) &&
		  PUT_I("speaker_result", s.speaker_result) && PUT_I("rgb_result", s.rgb_result) &&
		  PUT_I("sd_result", s.sd_result) && PUT_I("audio_result", s.audio_result) &&
		  PUT_U("sd_mounted", s.sd_mounted) && zcbor_tstr_put_lit(zse, "file") &&
		  zcbor_tstr_put_term(zse, s.last_file, sizeof(s.last_file)) &&
		  zcbor_tstr_put_lit(zse, "version") && zcbor_tstr_put_lit(zse, APP_VERSION_STRING);
#undef PUT_U
#undef PUT_I
	return ok ? MGMT_ERR_EOK : MGMT_ERR_EMSGSIZE;
}

static int write_action(struct smp_streamer *ctxt)
{
	zcbor_state_t *zsd = ctxt->reader->zs, *zse = ctxt->writer->zs;
	uint32_t action = 0, value = 0;
	size_t decoded = 0;
	struct zcbor_map_decode_key_val fields[] = {
		ZCBOR_MAP_DECODE_KEY_DECODER("action", zcbor_uint32_decode, &action),
		ZCBOR_MAP_DECODE_KEY_DECODER("value", zcbor_uint32_decode, &value),
	};

	if (zcbor_map_decode_bulk(zsd, fields, ARRAY_SIZE(fields), &decoded) != 0 ||
	    action < KIT_BEEP || action > KIT_RGB) {
		return MGMT_ERR_EINVAL;
	}
	int ret = kit_request((enum kit_action)action, value);

	if (ret != 0) {
		return ret == -EBUSY ? MGMT_ERR_EBUSY : MGMT_ERR_EINVAL;
	}
	bool ok = zcbor_tstr_put_lit(zse, "queued") && zcbor_uint32_put(zse, action) &&
		  zcbor_tstr_put_lit(zse, "value") && zcbor_uint32_put(zse, value);

	return ok ? MGMT_ERR_EOK : MGMT_ERR_EMSGSIZE;
}

static const struct mgmt_handler handlers[] = {
	[0] = {.mh_read = read_status},
	[1] = {.mh_write = write_action},
};
static struct mgmt_group group = {
	.mg_handlers = handlers,
	.mg_handlers_count = ARRAY_SIZE(handlers),
	.mg_group_id = KIT_MGMT_GROUP,
};

void kit_mgmt_init(void)
{
	mgmt_register_group(&group);
}
#else
void kit_mgmt_init(void)
{
}
#endif
```
